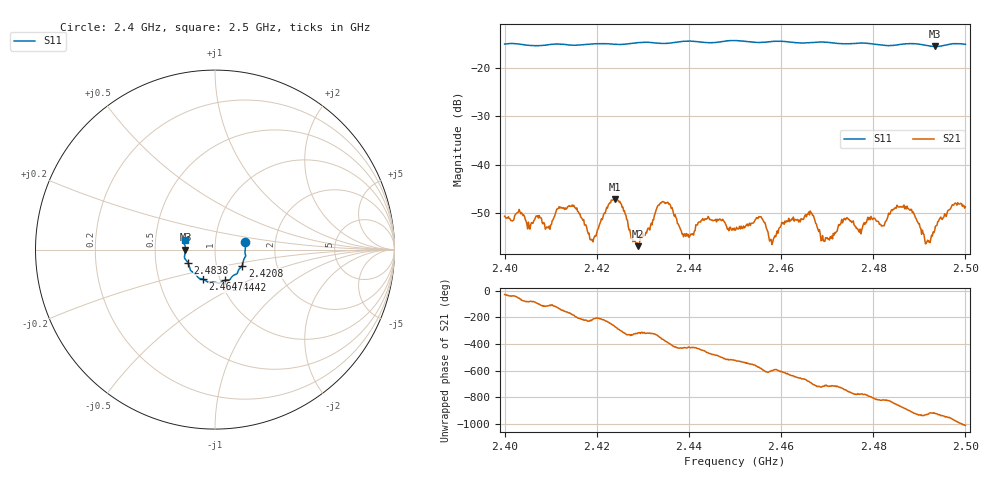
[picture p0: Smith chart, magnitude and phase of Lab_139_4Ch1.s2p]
# Hz S RI R 50
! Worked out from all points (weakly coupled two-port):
!   601 points, 2.4 GHz to 2.5 GHz, reference 50 ohm
!   highest |S21| = -47.11 dB at 2.424 GHz (marker M1); lowest = -56.8 dB at 2.429 GHz (marker M2)
!   lowest |S11| = -15.7 dB at 2.4933 GHz (marker M3), VSWR 1.39, Z = 35.9 - j0.023 ohm
!   |S11| at or under -10 dB: start of sweep to end of sweep
!   S12 and S22 are empty: the file has one direction only
!   S11 on the Smith chart (normalised r, x): 2.4 GHz: 1.40, +0.11; 2.4208 GHz: 1.33, -0.25; 2.4442 GHz: 1.05, -0.37; 2.4647 GHz: 0.83, -0.28; 2.4838 GHz: 0.73, -0.11; 2.5 GHz: 0.71, +0.08
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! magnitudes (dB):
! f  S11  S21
! 2.4 GHz  -15.2  -50.6
! 2.4167 GHz  -15.3  -50.9
! 2.419 GHz  -15.1  -55.5
! 2.4208 GHz  -15.1  -51.7
! 2.424 GHz  -15.2  -47.1
! 2.429 GHz  -14.9  -56.8
! 2.4333 GHz  -15.0  -48.4
! 2.4358 GHz  -15.0  -48.1
! 2.4392 GHz  -14.6  -54.3
! 2.4442 GHz  -14.9  -50.7
! 2.45 GHz  -14.4  -53.5
! 2.4555 GHz  -14.8  -50.7
! 2.458 GHz  -14.6  -56.4
! 2.4647 GHz  -15.0  -51.2
! 2.4667 GHz  -14.9  -50.0
! 2.4692 GHz  -14.8  -55.6
! 2.4833 GHz  -15.5  -50.0
! 2.4838 GHz  -15.5  -49.6
! 2.4878 GHz  -15.1  -49.2
! 2.4918 GHz  -15.5  -55.6
! 2.4933 GHz  -15.7  -53.6
! 2.5 GHz  -15.2  -48.7
